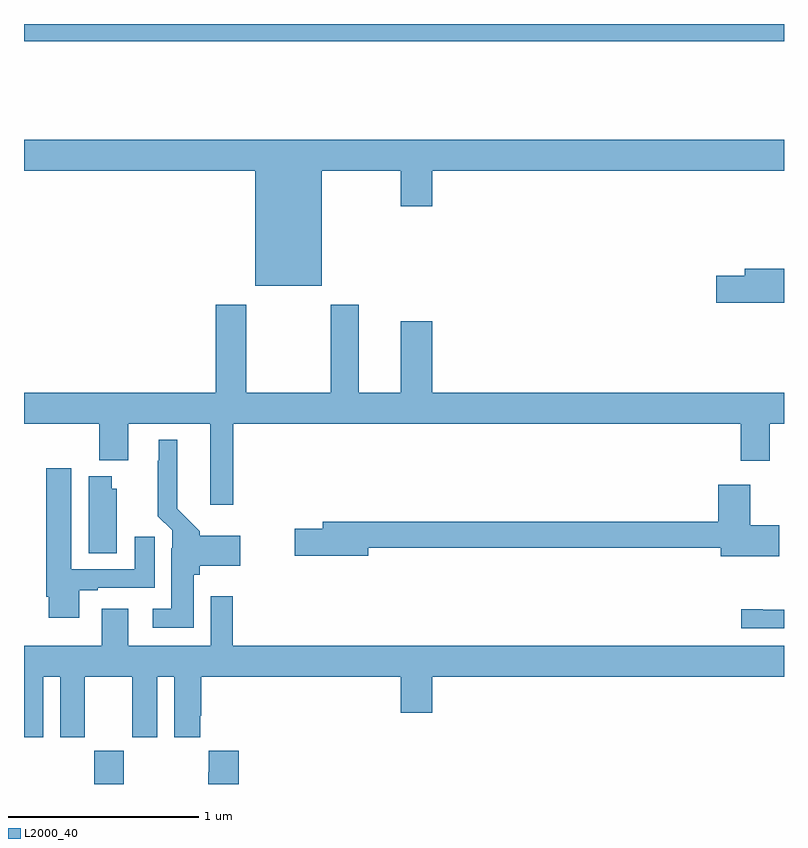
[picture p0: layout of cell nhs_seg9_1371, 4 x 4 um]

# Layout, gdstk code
import gdstk
lib = gdstk.Library(unit=1e-6, precision=1e-09)
def R(c, l, rs):  # rectangles x0, y0, x1, y1
    for r in rs: c.add(gdstk.rectangle(r[:2], r[2:], *l))
def P(c, l, *ps):  # polygons
    for p in ps: c.add(gdstk.Polygon(p, *l))
L2000_40 = (2000, 40)

nhs_seg9_1371 = lib.new_cell('nhs_seg9_1371')
R(nhs_seg9_1371, L2000_40, [(187.369,1218.5,187.524,1218.676), (187,1222.408,191,1222.5)])
P(nhs_seg9_1371, L2000_40, [(188.566,1221.728),(188.984,1221.728),(188.984,1221.54),(189.148,1221.54),(189.148,1221.728),(191,1221.728),(191,1221.892),(187,1221.892),(187,1221.728),(188.216,1221.728),(188.216,1221.122),(188.566,1221.122)],
  [(191,1221.212),(190.793,1221.212),(190.793,1221.176),(190.644,1221.176),(190.644,1221.034),(191,1221.034)],
  [(188.102,1220.396),(190.772,1220.396),(190.772,1220.202),(190.924,1220.202),(190.924,1220.396),(191,1220.396),(191,1220.56),(189.148,1220.56),(189.148,1220.935),(188.984,1220.935),(188.984,1220.56),(188.761,1220.56),(188.761,1221.022),(188.614,1221.022),(188.614,1220.56),(188.169,1220.56),(188.169,1221.022),(188.009,1221.022),(188.009,1220.56),(187,1220.56),(187,1220.396),(187.397,1220.396),(187.397,1220.204),(187.549,1220.204),(187.549,1220.396),(187.979,1220.396),(187.979,1219.971),(188.102,1219.971)],
  [(187.894,1219.602),(187.925,1219.602),(187.925,1219.649),(188.137,1219.649),(188.137,1219.807),(187.925,1219.807),(187.925,1219.83),(187.807,1219.948),(187.807,1220.311),(187.709,1220.311),(187.709,1220.201),(187.705,1220.201),(187.705,1219.91),(187.779,1219.836),(187.779,1219.742),(187.775,1219.742),(187.775,1219.423),(187.677,1219.423),(187.677,1219.322),(187.894,1219.322)],
  [(187.291,1219.521),(187.387,1219.521),(187.387,1219.533),(187.687,1219.533),(187.687,1219.801),(187.583,1219.801),(187.583,1219.629),(187.249,1219.629),(187.249,1220.161),(187.118,1220.161),(187.118,1219.486),(187.13,1219.486),(187.13,1219.374),(187.291,1219.374)],
  [(187.489,1220.055),(187.462,1220.055),(187.462,1220.119),(187.34,1220.119),(187.34,1219.714),(187.489,1219.714)],
  [(190.975,1219.863),(190.822,1219.863),(190.822,1220.074),(190.655,1220.074),(190.655,1219.88),(188.573,1219.88),(188.573,1219.844),(188.424,1219.844),(188.424,1219.702),(188.812,1219.702),(188.812,1219.744),(190.667,1219.744),(190.667,1219.7),(190.975,1219.7)],
  [(187.102,1219.064),(187.19,1219.064),(187.19,1218.747),(187.321,1218.747),(187.321,1219.064),(187.571,1219.064),(187.571,1218.747),(187.702,1218.747),(187.702,1219.064),(187.79,1219.064),(187.79,1218.747),(187.927,1218.747),(187.927,1218.859),(187.934,1218.859),(187.934,1219.064),(188.984,1219.064),(188.984,1218.876),(189.148,1218.876),(189.148,1219.064),(191,1219.064),(191,1219.228),(188.099,1219.228),(188.099,1219.489),(187.983,1219.489),(187.983,1219.228),(187.549,1219.228),(187.549,1219.423),(187.409,1219.423),(187.409,1219.228),(187,1219.228),(187,1218.747),(187.102,1218.747)],
  [(191,1219.416),(190.888,1219.416),(190.888,1219.421),(190.776,1219.421),(190.776,1219.32),(191,1219.32)],
  [(188.129,1218.676),(187.973,1218.676),(187.973,1218.563),(187.969,1218.563),(187.969,1218.5),(188.129,1218.5)])

lib.write_gds('nhs_seg9_1371.gds')
